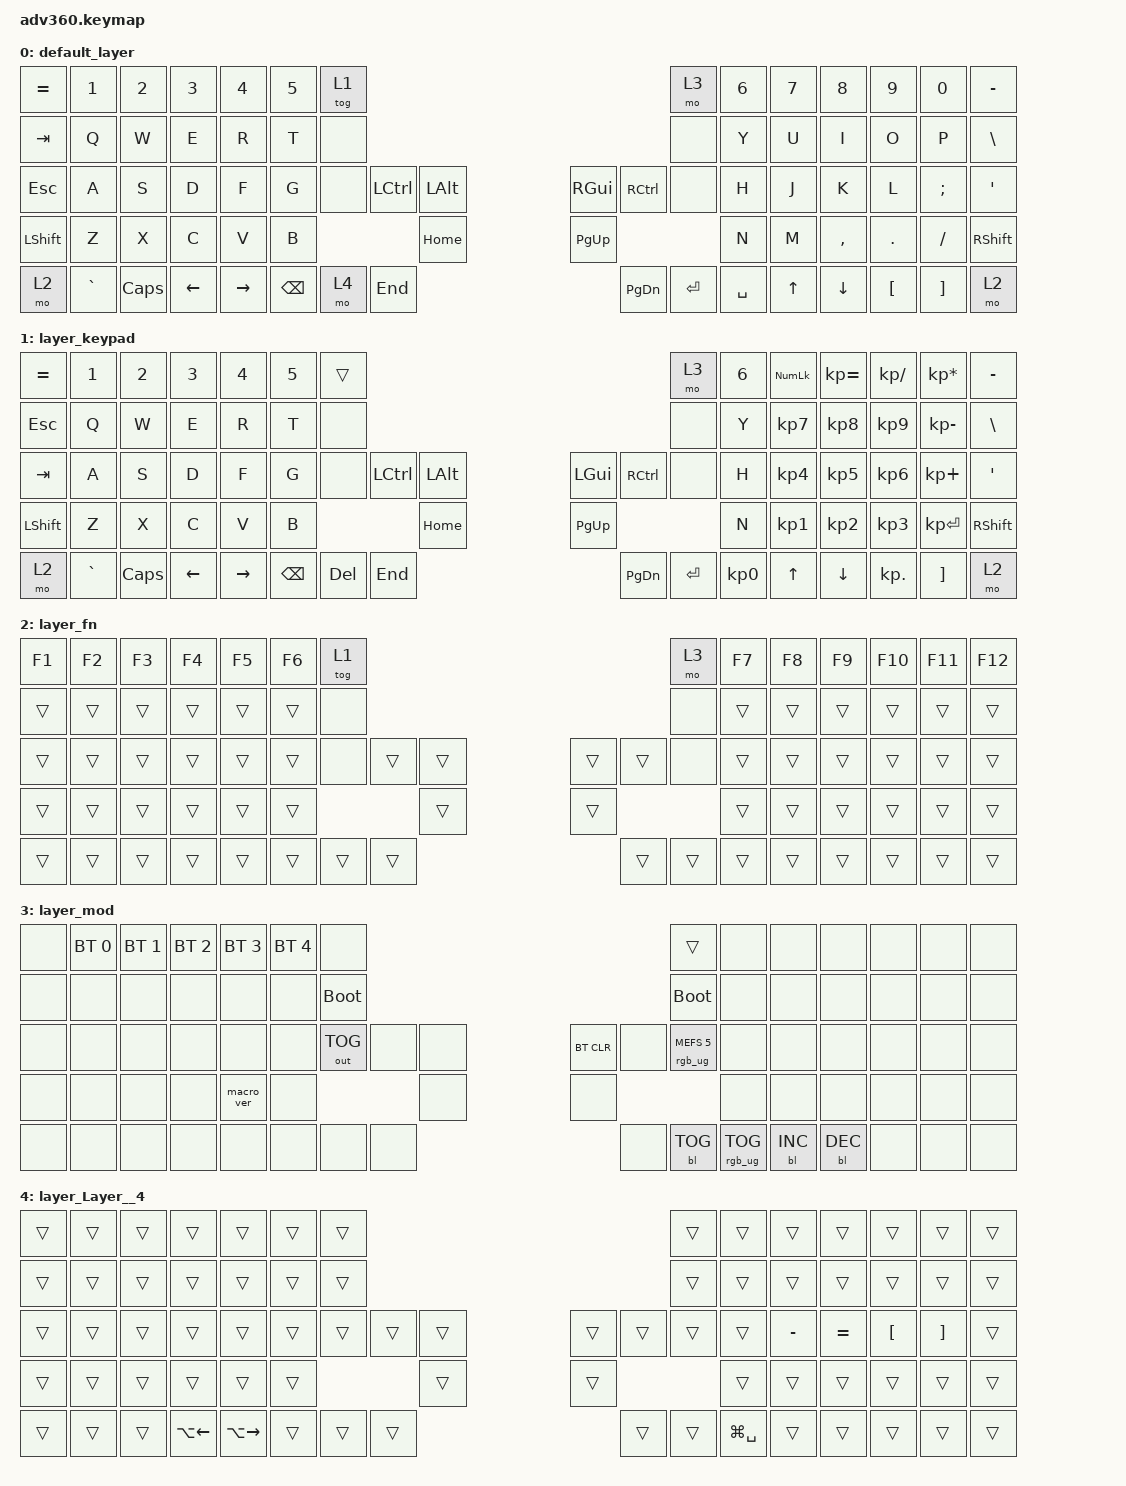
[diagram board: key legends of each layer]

/*
 * Copyright (c) 2020 The ZMK Contributors
 *
 * SPDX-License-Identifier: MIT
 */


/* THIS FILE WAS GENERATED!
 *
 * This file was generated automatically. You may or may not want to
 * edit it directly.
 */

#include <behaviors.dtsi>
#include <dt-bindings/zmk/keys.h>
#include <dt-bindings/zmk/bt.h>
#include <dt-bindings/zmk/outputs.h>
#include <dt-bindings/zmk/rgb.h>
#include <dt-bindings/zmk/backlight.h>

/ {
  behaviors {
    #include "macros.dtsi"
    #include "version.dtsi"

    hm: homerow_mods {
        compatible = "zmk,behavior-hold-tap";
        label = "HOMEROW_MODS";
        #binding-cells = <2>;
        tapping-term-ms = <200>;
        quick_tap_ms = <175>;
        flavor = "tap-preferred";
        bindings = <&kp>, <&kp>;
    };
  };

    keymap {
        compatible = "zmk,keymap";


        default_layer {
            bindings = <
 &kp EQUAL     &kp N1    &kp N2          &kp N3           &kp N4  &kp N5                   &tog 1                                                                     &mo 3  &kp N6        &kp N7          &kp N8            &kp N9             &kp N0  &kp MINUS
   &kp TAB      &kp Q     &kp W           &kp E            &kp R   &kp T                    &none                                                                     &none   &kp Y         &kp U           &kp I             &kp O              &kp P   &kp BSLH
   &kp ESC      &kp A     &kp S           &kp D            &kp F   &kp G                    &none  &kp LCTRL  &kp LALT                  &kp RIGHT_GUI  &kp RCTRL      &none   &kp H         &kp J           &kp K             &kp L           &kp SEMI    &kp SQT
 &kp LSHFT      &kp Z     &kp X           &kp C            &kp V   &kp B                                      &kp HOME                      &kp PG_UP                         &kp N         &kp M       &kp COMMA           &kp DOT           &kp FSLH  &kp RSHFT
     &mo 2  &kp GRAVE  &kp CAPS  &kp LEFT_ARROW  &kp RIGHT_ARROW                    &kp BACKSPACE      &mo 4   &kp END                      &kp PG_DN  &kp ENTER  &kp SPACE          &kp UP_ARROW  &kp DOWN_ARROW  &kp LEFT_BRACKET  &kp RIGHT_BRACKET      &mo 2
            >;
        };

        layer_keypad {
            bindings = <
 &kp EQUAL     &kp N1    &kp N2    &kp N3           &kp N4  &kp N5                   &trans                                                                 &mo 3  &kp N6  &kp KP_NUM  &kp KP_EQUAL  &kp KP_DIVIDE    &kp KP_MULTIPLY  &kp MINUS
   &kp ESC      &kp Q     &kp W     &kp E            &kp R   &kp T                    &none                                                                 &none   &kp Y   &kp KP_N7     &kp KP_N8      &kp KP_N9       &kp KP_MINUS   &kp BSLH
   &kp TAB      &kp A     &kp S     &kp D            &kp F   &kp G                    &none  &kp LCTRL  &kp LALT                   &kp LGUI  &kp RCTRL      &none   &kp H   &kp KP_N4     &kp KP_N5      &kp KP_N6        &kp KP_PLUS    &kp SQT
 &kp LSHFT      &kp Z     &kp X     &kp C            &kp V   &kp B                                      &kp HOME                  &kp PG_UP                         &kp N   &kp KP_N1     &kp KP_N2      &kp KP_N3       &kp KP_ENTER  &kp RSHFT
     &mo 2  &kp GRAVE  &kp CAPS  &kp LEFT  &kp RIGHT_ARROW                    &kp BACKSPACE    &kp DEL   &kp END                  &kp PG_DN  &kp ENTER  &kp KP_N0              &kp UP      &kp DOWN     &kp KP_DOT  &kp RIGHT_BRACKET      &mo 2
            >;
        };

        layer_fn {
            bindings = <
 &kp F1  &kp F2  &kp F3  &kp F4  &kp F5  &kp F6            &tog 1                                                   &mo 3  &kp F7  &kp F8  &kp F9  &kp F10  &kp F11  &kp F12
 &trans  &trans  &trans  &trans  &trans  &trans             &none                                                   &none  &trans  &trans  &trans   &trans   &trans   &trans
 &trans  &trans  &trans  &trans  &trans  &trans             &none  &trans  &trans                  &trans  &trans   &none  &trans  &trans  &trans   &trans   &trans   &trans
 &trans  &trans  &trans  &trans  &trans  &trans                            &trans                  &trans                  &trans  &trans  &trans   &trans   &trans   &trans
 &trans  &trans  &trans  &trans  &trans                    &trans  &trans  &trans                  &trans  &trans  &trans          &trans  &trans   &trans   &trans   &trans
            >;
        };

        layer_mod {
            bindings = <
  &none  &bt BT_SEL 0  &bt BT_SEL 1  &bt BT_SEL 2  &bt BT_SEL 3  &bt BT_SEL 4                   &none                                                                          &trans   &none       &none       &none   &none   &none   &none
  &none         &none         &none         &none         &none         &none             &bootloader                                                                     &bootloader   &none       &none       &none   &none   &none   &none
  &none         &none         &none         &none         &none         &none            &out OUT_TOG   &none   &none                  &bt BT_CLR       &none  &rgb_ug RGB_MEFS_CMD 5   &none       &none       &none   &none   &none   &none
  &none         &none         &none         &none    &macro_ver         &none                                   &none                       &none                                       &none       &none       &none   &none   &none   &none
  &none         &none         &none         &none         &none                                 &none   &none   &none                       &none  &bl BL_TOG         &rgb_ug RGB_TOG          &bl BL_INC  &bl BL_DEC   &none   &none   &none
            >;
        };

        layer_Layer__4 {
            bindings = <
 &trans  &trans  &trans        &trans         &trans  &trans            &trans                                                         &trans  &trans     &trans     &trans            &trans             &trans  &trans
 &trans  &trans  &trans        &trans         &trans  &trans            &trans                                                         &trans  &trans     &trans     &trans            &trans             &trans  &trans
 &trans  &trans  &trans        &trans         &trans  &trans            &trans  &trans  &trans                  &trans  &trans         &trans  &trans  &kp MINUS  &kp EQUAL  &kp LEFT_BRACKET  &kp RIGHT_BRACKET  &trans
 &trans  &trans  &trans        &trans         &trans  &trans                            &trans                  &trans                         &trans     &trans     &trans            &trans             &trans  &trans
 &trans  &trans  &trans  &kp LA(LEFT)  &kp LA(RIGHT)                    &trans  &trans  &trans                  &trans  &trans  &kp LG(SPACE)             &trans     &trans            &trans             &trans  &trans
            >;
        };

    };
};
